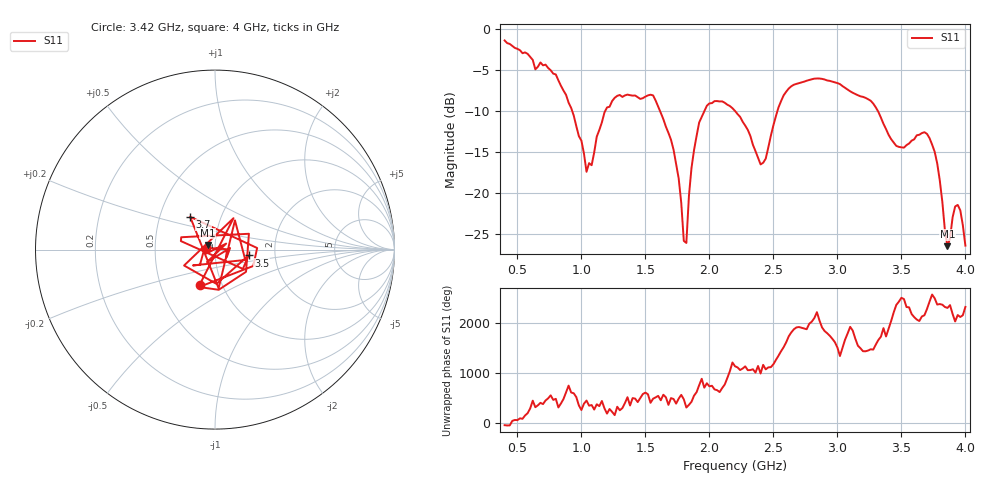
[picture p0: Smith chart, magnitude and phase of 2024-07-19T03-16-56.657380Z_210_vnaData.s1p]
!Created with skrf (http://scikit-rf.org).
# Hz S RI R 50.0
!freq ReS11 ImS11
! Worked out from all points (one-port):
!   181 points, 400 MHz to 4 GHz, reference 50 ohm
!   lowest |S11| = -26.5 dB at 3.86 GHz (marker M1), VSWR 1.10, Z = 46.1 + j2.33 ohm
!   |S11| at or under -10 dB: 1.615 GHz to 1.96 GHz (345.7 MHz wide, 19.3 % of centre); 2.201 GHz to 2.531 GHz (329.9 MHz wide, 13.9 % of centre); 3.317 GHz to end of sweep (the widest 3 of 4)
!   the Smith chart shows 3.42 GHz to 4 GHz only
!   S11 on the Smith chart (normalised r, x): 3.42 GHz: 0.79, -0.32; 3.5 GHz: 1.46, -0.10; 3.7 GHz: 0.71, +0.28; 4 GHz: 0.91, +0.02
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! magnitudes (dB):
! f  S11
! 400 MHz  -1.4
! 860 MHz  -7.5
! 1 GHz  -13.6
! 1.04 GHz  -17.4
! 1.18 GHz  -10.2
! 1.3 GHz  -8.0
! 1.56 GHz  -8.1
! 1.7 GHz  -13.5
! 1.76 GHz  -18.2
! 1.8 GHz  -25.9
! 1.82 GHz  -26.1
! 1.86 GHz  -17.0
! 1.92 GHz  -11.4
! 2.04 GHz  -8.8
! 2.2 GHz  -10.0
! 2.4 GHz  -16.5
! 2.56 GHz  -8.8
! 2.66 GHz  -6.8
! 3.1 GHz  -7.6
! 3.28 GHz  -9.1
! 3.42 GHz  -13.4
! 3.5 GHz  -14.4
! 3.56 GHz  -14.0
! 3.7 GHz  -12.8
! 3.78 GHz  -16.4
! 3.86 GHz  -26.5
! 3.94 GHz  -21.5
! 4 GHz  -26.5
